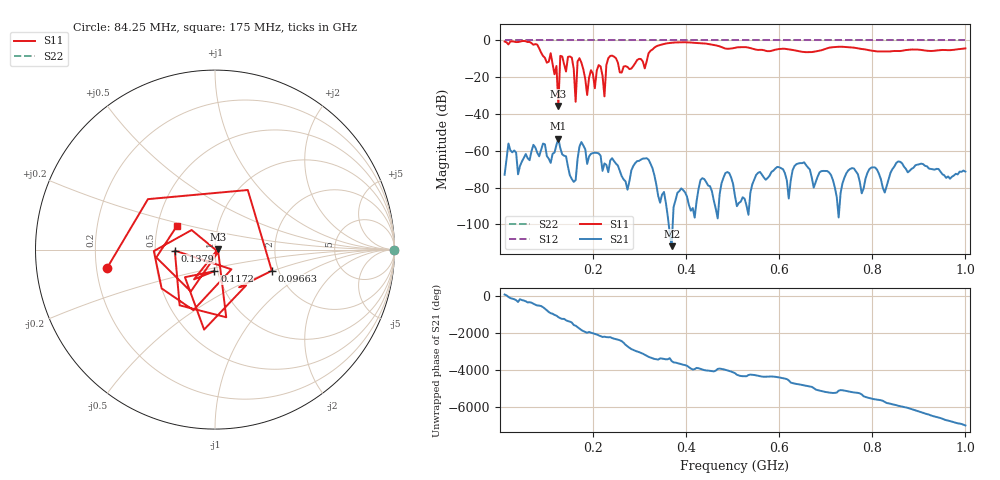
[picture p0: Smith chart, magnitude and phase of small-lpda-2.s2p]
! Anritsu VNA Master:  Model: MS2024B
! SN:  2417009
! /card0/usr/small-lpda-2.s2p
! Existing Calibration Information:
! TYPE:  Current Settings,  Active Cal Settings
! TIME:  09/04/2026 05:07:38 AM,  09/04/2026 04:35:19 AM
! INTERNAL TEMP:  53.0 C,  52.5 C
! # POINTS:  241,  241
! START FREQ:  10.000 MHz,  10.000 MHz
! STOP FREQ:  1.000 GHz,  1.000 GHz
! SOURCE POWER:  Default,  Default
! IFBW:  1 kHz,  1 kHz
! AVG FACTOR:  16 ,  16
! REF PLANE 1:  0 mm,  0 mm
! REF PLANE 2:  0 mm,  0 mm
! CAL TYPE:  1P2P S11,S21,  1P2P S11,S21
! CAL METHOD:  SOLT,  SOLT
! CAL LINE TYPE:  Coax,  Coax
! DUT PORT 1:  N-Conn(M),  N-Conn(M)
! DUT PORT 2:  N-Conn(M),  N-Conn(M)
! CAL STATUS:  OK: Accuracy High,  --
# GHZ S DB R 50.0
! FREQ.GHZ  S11DB  S11A  S21DB  S21A  S12DB  S12A  S22DB  S22A
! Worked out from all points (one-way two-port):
!   241 points, 10 MHz to 1 GHz, reference 50 ohm
!   highest |S21| = -53.40 dB at 125.5 MHz (marker M1); lowest = -111.8 dB at 368.9 MHz (marker M2)
!   lowest |S11| = -35.6 dB at 125.5 MHz (marker M3), VSWR 1.03, Z = 51.7 + j0.251 ohm
!   |S11| at or under -10 dB: 111.1 MHz to 129.4 MHz (18.25 MHz wide, 15.2 % of centre); 171.5 MHz to 232.4 MHz (60.87 MHz wide, 30.1 % of centre); 249.9 MHz to 316.5 MHz (66.63 MHz wide, 23.5 % of centre)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
!   |S22| runs from 0.0 to 0.0 dB; largest |S21 - S12| = 1
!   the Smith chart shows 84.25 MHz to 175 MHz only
!   S11 on the Smith chart (normalised r, x): 84.25 MHz: 0.24, -0.08; 96.62 MHz: 1.84, -0.49; 117.2 MHz: 0.96, -0.24; 137.9 MHz: 0.63, -0.01; 175 MHz: 0.63, +0.17
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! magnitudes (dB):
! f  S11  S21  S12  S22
! 10 MHz  -0.6  -73.0  0.0  0.0
! 18.25 MHz  -2.2  -56.0  0.0  0.0
! 38.88 MHz  -0.9  -72.8  0.0  0.0
! 84.25 MHz  -4.3  -63.0  0.0  0.0
! 96.62 MHz  -9.4  -56.4  0.0  0.0
! 117.2 MHz  -18.4  -60.9  0.0  0.0
! 125.5 MHz  -35.6  -53.4  0.0  0.0
! 129.6 MHz  -8.4  -58.6  0.0  0.0
! 137.9 MHz  -13.0  -62.7  0.0  0.0
! 154.4 MHz  -9.3  -75.3  0.0  0.0
! 162.6 MHz  -33.3  -75.9  0.0  0.0
! 166.8 MHz  -11.4  -64.4  0.0  0.0
! 175 MHz  -12.0  -55.2  0.0  0.0
! 216.2 MHz  -14.1  -62.6  0.0  0.0
! 224.5 MHz  -30.4  -66.9  0.0  0.0
! 236.9 MHz  -8.4  -65.2  0.0  0.0
! 340 MHz  -2.8  -84.5  0.0  0.0
! 368.9 MHz  -1.3  -111.8  0.0  0.0
! 505 MHz  -4.0  -84.6  0.0  0.0
! 670 MHz  -6.3  -74.6  0.0  0.0
! 835 MHz  -6.0  -75.3  0.0  0.0
! 1 GHz  -4.3  -71.3  0.0  0.0
